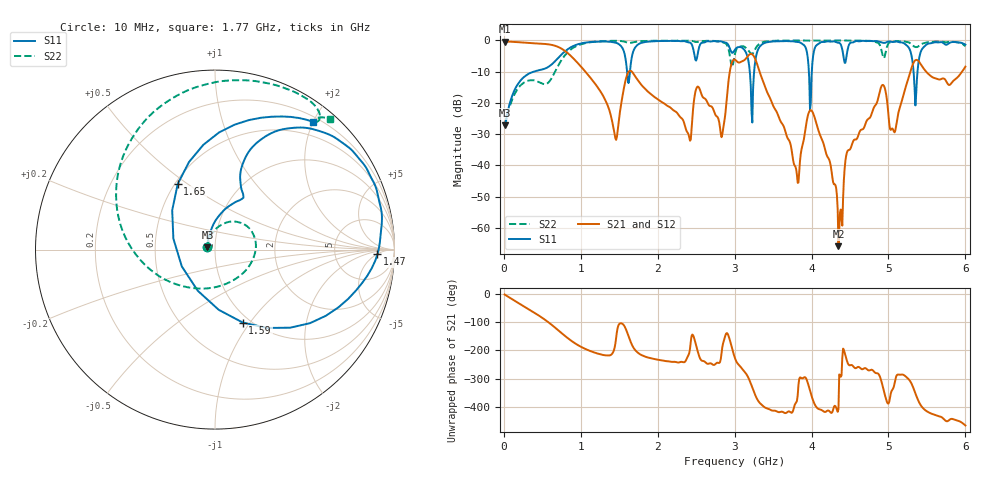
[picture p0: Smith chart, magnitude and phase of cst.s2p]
! G_pp200: Plane pair 50 × 30 mm, d = 0.2 mm, ports at a corner and the centre
! stackup: plane pair, 0.2 mm FR-4
! ports: 1 corner, 2 centre
! CST Studio Suite 2025.5 Release from 2025-05-30, time domain (FIT, hexahedral, PBA), 45968 mesh cells, 37 s
! mesh: {'lpw': 20, 'lpb': 20, 'minstep': 0.0, 'ratio': 20}; ports: port 1 (edge); port 2 (edge)
! interpolated from CST's 1001 samples to the case grid
# Hz S RI R 1
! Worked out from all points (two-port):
!   600 points, 10 MHz to 6 GHz, reference 1 ohm
!   highest |S21| = -0.38 dB at 10 MHz (marker M1); lowest = -65.8 dB at 4.35 GHz (marker M2)
!   |S21| within 3 dB of the highest: start of sweep to 794.4 MHz
!   lowest |S11| = -27.2 dB at 10 MHz (marker M3), VSWR 1.09, Z = 0.919 + j0.0227 ohm
!   |S11| at or under -10 dB: start of sweep to 390.6 MHz; 3.197 GHz to 3.254 GHz (56.86 MHz wide, 1.76 % of centre); 5.326 GHz to 5.378 GHz (51.88 MHz wide, 0.969 % of centre)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
!   |S22| runs from -27.1 to 0.0 dB; largest |S21 - S12| = 0.0042
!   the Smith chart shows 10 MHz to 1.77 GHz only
!   S11 on the Smith chart (normalised r, x): 10 MHz: 0.92, +0.02; 1.47 GHz: 19, -5; 1.59 GHz: 0.92, -0.92; 1.65 GHz: 0.52, +0.46; 1.77 GHz: 0.27, +2.00
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1e7  -0.0419 0.0123  0.9569 -0.0285  0.9569 -0.0285  -0.0424 0.0119
5.2e8  0.1558 0.312  0.0261 -0.879  0.0261 -0.8791  0.1224 -0.1578
1.01e9  0.6224 0.6466  -0.3682 0.0535  -0.3682 0.0535  -0.2507 0.8348
1.47e9  0.9053 -0.026  -0.0201 -0.0205  -0.0201 -0.0208  0.5082 0.8421
1.59e9  0.1548 -0.4065  -0.1497 -0.2011  -0.1503 -0.1999  0.5838 0.7308
1.65e9  -0.2078 0.3655  -0.3221 -0.0535  -0.3207 -0.0536  0.5602 0.7209
1.77e9  0.5454 0.712  -0.1723 0.1151  -0.1726 0.115  0.6387 0.7275
2.01e9  0.8619 0.4571  -0.0664 0.0908  -0.0663 0.0908  0.7546 0.6386
2.83e9  0.9608 0.0258  -0.0244 0.0143  -0.025 0.014  0.9305 0.1927
3.01e9  0.7225 0.0534  -0.3031 0.3804  -0.3033 0.3778  0.4715 0.4467
3.24e9  -0.0161 0.1651  0.542 0.2081  0.5399 0.209  0.4826 0.4023
3.34e9  0.5515 0.6204  0.2396 -0.1389  0.2406 -0.1389  0.689 0.5891
3.81e9  0.9451 0.023  0.00668 -0.00232  0.0067 -0.00211  0.9114 0.4029
3.94e9  0.5121 -0.3922  0.0316 0.0429  0.0319 0.0424  0.9214 0.3687
4.01e9  0.0678 0.4173  0.0714 -0.0126  0.071 -0.0123  0.9249 0.3575
4.35e9  0.9117 0.0976  0.000337 -0.000384  0.000344 -0.000422  0.9539 0.2897
4.47e9  0.5498 0.4671  -0.00738 0.0156  -0.00746 0.0156  0.9582 0.2614
4.91e9  0.9267 0.0684  0.1227 0.1394  0.1214 0.1392  0.6815 -0.0722
5.01e9  0.9637 0.041  0.0434 -0.018  0.0441 -0.0184  0.8285 0.3978
5.36e9  -0.0939 0.0995  0.4873 0.00334  0.4864 0.00473  0.7596 0.1801
5.55e9  0.7764 0.4527  0.1194 -0.2413  0.1194 -0.2416  0.9119 0.2427
6e9  0.8539 0.0346  -0.1076 -0.3646  -0.108 -0.3643  0.7884 -0.146
